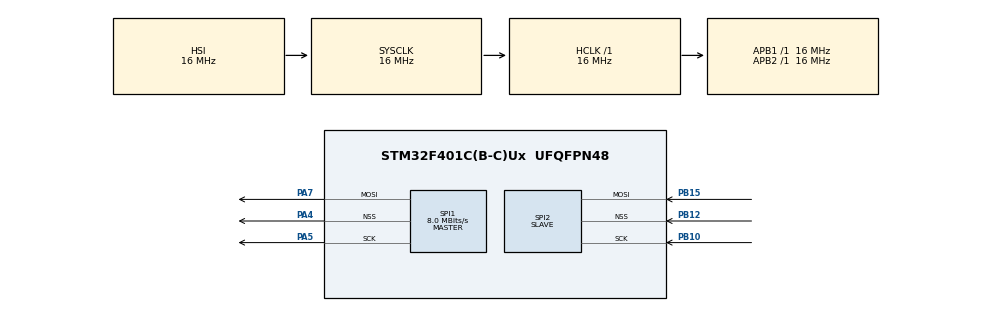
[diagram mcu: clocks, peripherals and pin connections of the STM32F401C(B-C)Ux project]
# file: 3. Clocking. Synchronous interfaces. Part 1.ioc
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Mcu.Family=STM32F4
Mcu.Name=STM32F401C(B-C)Ux
Mcu.Package=UFQFPN48
NVIC.PriorityGroup=NVIC_PRIORITYGROUP_4
NVIC.SPI1_IRQn=true\:7\:0\:true\:true\:true\:1\:true\:true\:true
NVIC.SPI2_IRQn=true\:2\:0\:true\:true\:true\:2\:true\:true\:true
PA13.Mode=Serial_Wire
PA13.Signal=SYS_JTMS-SWDIO
PA14.Mode=Serial_Wire
PA14.Signal=SYS_JTCK-SWCLK
PA4.Mode=NSS_Signal_Hard_Output
PA4.Signal=SPI1_NSS
PA5.Mode=TX_Only_Simplex_Unidirect_Master
PA5.Signal=SPI1_SCK
PA7.Mode=TX_Only_Simplex_Unidirect_Master
PA7.Signal=SPI1_MOSI
PB10.Mode=RX_Only_Simplex_Unidirect_Slave
PB10.Signal=SPI2_SCK
PB12.Mode=NSS_Signal_Hard_Input
PB12.Signal=SPI2_NSS
PB15.Mode=RX_Only_Simplex_Unidirect_Slave
PB15.Signal=SPI2_MOSI
ProjectManager.HeapSize=0x200
ProjectManager.StackSize=0x400
ProjectManager.TargetToolchain=STM32CubeIDE
RCC.AHBFreq_Value=16000000
RCC.APB1Freq_Value=16000000
RCC.APB2Freq_Value=16000000
RCC.CortexFreq_Value=16000000
RCC.HSE_VALUE=25000000
RCC.HSI_VALUE=16000000
RCC.LSE_VALUE=32768
RCC.SYSCLKFreq_VALUE=16000000
RCC.VCOOutputFreq_Value=192000000
SPI1.CalculateBaudRate=8.0 MBits/s
SPI1.Direction=SPI_DIRECTION_2LINES
SPI1.Mode=SPI_MODE_MASTER
SPI1.VirtualNSS=VM_NSSHARD
SPI1.VirtualType=VM_MASTER
SPI2.Direction=SPI_DIRECTION_2LINES_RXONLY
SPI2.Mode=SPI_MODE_SLAVE
SPI2.VirtualNSS=VM_NSSHARD
SPI2.VirtualType=VM_SLAVE
board=custom

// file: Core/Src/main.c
/* USER CODE BEGIN Header */
/**
  ******************************************************************************
  * @file           : main.c
  * @brief          : Main program body
  ******************************************************************************
  * @attention
  *
  * Copyright (c) 2024 STMicroelectronics.
  * All rights reserved.
  *
  * This software is licensed under terms that can be found in the LICENSE file
  * in the root directory of this software component.
  * If no LICENSE file comes with this software, it is provided AS-IS.
  *
  ******************************************************************************
  */
/* USER CODE END Header */
#include "main.h"
#include "spi.h"
#include "gpio.h"

void SystemClock_Config(void);
static void MX_NVIC_Init(void);

int main(void)
{
  /* USER CODE BEGIN 1 */
  uint8_t string_Tx[] = "Hello World";
  uint8_t string_Rx[sizeof(string_Tx)/ sizeof(string_Tx[0])] = {};

  uint32_t n = sizeof(string_Tx)/ sizeof(string_Tx[0]);

  /* USER CODE END 1 */

  /* MCU Configuration--------------------------------------------------------*/

  /* Reset of all peripherals, Initializes the Flash interface and the Systick. */
  HAL_Init();

  /* Configure the system clock */
  SystemClock_Config();

  /* Initialize all configured peripherals */
  MX_GPIO_Init();
  MX_SPI1_Init();
  MX_SPI2_Init();

  /* Initialize interrupts */
  MX_NVIC_Init();
  /* USER CODE BEGIN 2 */
  MX_SPI2_Receive_IT(string_Rx, n);

#if 0
  // вариант 1 работает
  for(uint32_t i = 0; i < n; i++){
	  MX_SPI1_Transmit(string_Tx + i, 1, 1);
  }
#endif
  // вариант 2 работает
#if 0
  MX_SPI1_Transmit(string_Tx, n, 1);
#endif
#if 1
  //не рабочий
  while(MX_SPI1_Transmit_IT(string_Tx, n) != HAL_OK){
	  HAL_Delay(100);
  }
#endif
#if 0
  //не рабочий
  MX_SPI1_Transmit_IT(string_Tx, n);
#endif
  /* USER CODE END 2 */

  /* Infinite loop */
  while (1)
  {

  }
}

void SystemClock_Config(void)
{
  RCC_OscInitTypeDef RCC_OscInitStruct = {0};
  RCC_ClkInitTypeDef RCC_ClkInitStruct = {0};

  /** Configure the main internal regulator output voltage
  */
  __HAL_RCC_PWR_CLK_ENABLE();
  __HAL_PWR_VOLTAGESCALING_CONFIG(PWR_REGULATOR_VOLTAGE_SCALE2);

  /** Initializes the RCC Oscillators according to the specified parameters
  * in the RCC_OscInitTypeDef structure.
  */
  RCC_OscInitStruct.OscillatorType = RCC_OSCILLATORTYPE_HSI;
  RCC_OscInitStruct.HSIState = RCC_HSI_ON;
  RCC_OscInitStruct.HSICalibrationValue = RCC_HSICALIBRATION_DEFAULT;
  RCC_OscInitStruct.PLL.PLLState = RCC_PLL_NONE;
  if (HAL_RCC_OscConfig(&RCC_OscInitStruct) != HAL_OK)
  {
    Error_Handler();
  }

  /** Initializes the CPU, AHB and APB buses clocks
  */
  RCC_ClkInitStruct.ClockType = RCC_CLOCKTYPE_HCLK|RCC_CLOCKTYPE_SYSCLK
                              |RCC_CLOCKTYPE_PCLK1|RCC_CLOCKTYPE_PCLK2;
  RCC_ClkInitStruct.SYSCLKSource = RCC_SYSCLKSOURCE_HSI;
  RCC_ClkInitStruct.AHBCLKDivider = RCC_SYSCLK_DIV1;
  RCC_ClkInitStruct.APB1CLKDivider = RCC_HCLK_DIV1;
  RCC_ClkInitStruct.APB2CLKDivider = RCC_HCLK_DIV1;

  if (HAL_RCC_ClockConfig(&RCC_ClkInitStruct, FLASH_LATENCY_0) != HAL_OK)
  {
    Error_Handler();
  }
}

/**
  * @brief NVIC Configuration.
  * @retval None
  */
static void MX_NVIC_Init(void)
{
  /* SPI1_IRQn interrupt configuration */
  HAL_NVIC_SetPriority(SPI1_IRQn, 7, 0);
  HAL_NVIC_EnableIRQ(SPI1_IRQn);
  /* SPI2_IRQn interrupt configuration */
  HAL_NVIC_SetPriority(SPI2_IRQn, 2, 0);
  HAL_NVIC_EnableIRQ(SPI2_IRQn);
}

/* USER CODE BEGIN 4 */
void HAL_SPI_TxCpltCallback(SPI_HandleTypeDef *hspi){
	int b = 1;
	UNUSED(b);
}

/* USER CODE END 4 */

void Error_Handler(void)
{
  __disable_irq();
  while (1)
  {
  }
}
